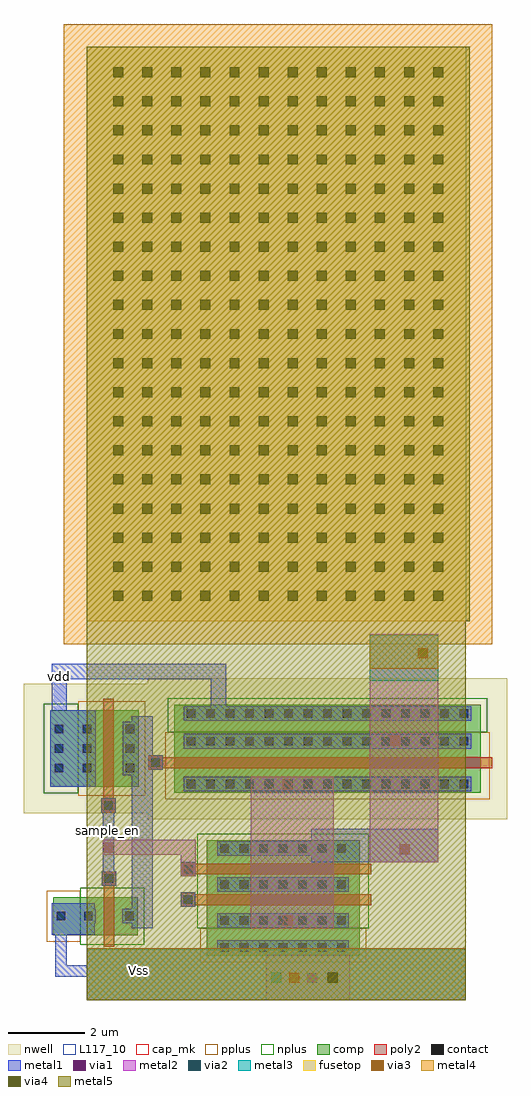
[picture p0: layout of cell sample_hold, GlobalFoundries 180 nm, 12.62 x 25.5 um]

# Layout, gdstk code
from math import pi, radians
import gdstk
lib = gdstk.Library(unit=1e-6, precision=5e-09)
def R(c, l, rs):  # rectangles x0, y0, x1, y1
    for r in rs: c.add(gdstk.rectangle(r[:2], r[2:], *l))
def A(c, l, x, y, w, h, nx, ny, dx, dy):  # array of equal rectangles
    R(c, l, [(x+i*dx, y+j*dy, x+i*dx+w, y+j*dy+h) for i in range(nx) for j in range(ny)])
nwell = (21, 0)
comp = (22, 0)
poly2 = (30, 0)
pplus = (31, 0)
nplus = (32, 0)
contact = (33, 0)
metal1 = (34, 0)
via1 = (35, 0)
metal2 = (36, 0)
via2 = (38, 0)
via3 = (40, 0)
via4 = (41, 0)
metal3 = (42, 0)
metal4 = (46, 0)
fusetop = (75, 0)
metal5 = (81, 0)
cap_mk = (117, 5)
L117_10 = (117, 10)

nfet_1 = lib.new_cell('nfet$1')
R(nfet_1, comp, [(-0.42,0,0,4), (0,0,1.46,4), (1.46,0,1.88,4), (1.88,0,2.59,4)])
R(nfet_1, poly2, [(0.15,-0.66,0.51,-0.3), (0.95,-0.66,1.31,-0.3), (0.19,-0.3,0.47,4.3), (0.99,-0.3,1.27,4.3)])
R(nfet_1, pplus, [(1.88,-0.17,2.76,4.17)])
R(nfet_1, nplus, [(-0.59,-0.24,1.88,4.24)])
A(nfet_1, contact, -0.32, 0.36, 0.22, 0.22, 3, 7, 0.94, 0.51)
A(nfet_1, contact, 2.27, 0.36, 0.22, 0.22, 1, 7, 0, 0.51)
R(nfet_1, contact, [(0.22,-0.59,0.44,-0.37), (1.02,-0.59,1.24,-0.37)])
A(nfet_1, metal1, -0.4, 0.28, 0.38, 3.44, 3, 1, 0.94, 0)
R(nfet_1, metal1, [(0.14,-0.67,0.52,-0.29), (0.94,-0.67,1.32,-0.29), (2.19,0.28,2.57,3.72)])

pfet = lib.new_cell('pfet')
R(pfet, nwell, [(-1.15,-0.69,2.54,2.69)])
R(pfet, comp, [(-0.46,0,0,2), (0,0,0.66,2), (0.66,0,1.12,2), (1.12,0,1.85,2)])
R(pfet, poly2, [(0.14,-0.68,0.52,-0.3), (0.19,-0.3,0.47,2.3)])
R(pfet, pplus, [(-0.63,-0.24,1.12,2.24)])
R(pfet, nplus, [(1.12,-0.17,2.02,2.17)])
A(pfet, contact, -0.34, 0.38, 0.22, 0.22, 1, 3, 0, 0.51)
A(pfet, contact, 0.78, 0.38, 0.22, 0.22, 1, 3, 0, 0.51)
A(pfet, contact, 1.51, 0.38, 0.22, 0.22, 1, 3, 0, 0.51)
R(pfet, contact, [(0.22,-0.6,0.44,-0.38)])
R(pfet, metal1, [(0.14,-0.68,0.52,-0.3), (-0.42,0.3,-0.04,1.7), (0.7,0.3,1.08,1.7), (1.43,0.3,1.81,1.7)])

nfet = lib.new_cell('nfet')
R(nfet, comp, [(-0.42,0,0,1), (0,0,0.66,1), (0.66,0,1.08,1), (1.08,0,1.79,1)])
R(nfet, poly2, [(0.19,-0.3,0.47,1.3), (0.15,1.3,0.51,1.66)])
R(nfet, pplus, [(1.08,-0.17,1.96,1.17)])
R(nfet, nplus, [(-0.59,-0.24,1.08,1.24)])
R(nfet, contact, [(-0.32,0.39,-0.1,0.61), (0.76,0.39,0.98,0.61), (1.47,0.39,1.69,0.61), (0.22,1.37,0.44,1.59)])
R(nfet, metal1, [(-0.4,0.31,-0.02,0.69), (0.68,0.31,1.06,0.69), (1.39,0.31,1.77,0.69), (0.14,1.29,0.52,1.67)])

inv_sh = lib.new_cell('inv_sh')
R(inv_sh, metal1, [(0.29,-1.01,1.42,-0.18), (-1.22,-0.84,-0.68,4.7), (0.26,2.86,1.45,4.86)])
inv_sh.add(gdstk.FlexPath([(-0.07,2.37),(-0.07,0.43),(-0.07,0.43)], 0.3, ends="flush", simple_path=True, layer=34, datatype=0))  # metal1
inv_sh.add(gdstk.Reference(pfet, (-0.4,2.86)))
inv_sh.add(gdstk.Reference(nfet, (-0.41,-1.02)))
inv_sh.add(gdstk.Label('vdd', (0.855,3.64), layer=34, texttype=10))
inv_sh.add(gdstk.Label('vss', (0.86,-0.56), layer=34, texttype=10))
inv_sh.add(gdstk.Label('vo', (-0.99,1.28), layer=34, texttype=10))
inv_sh.add(gdstk.Label('vi', (-0.07,1.39), layer=34, texttype=10))

pfet_1 = lib.new_cell('pfet$1')

pfet_3 = lib.new_cell('pfet$3')
R(pfet_3, nwell, [(-1.15,-0.69,2.54,8.69)])
R(pfet_3, comp, [(-0.46,0,0,8), (0,0,0.66,8), (0.66,0,1.12,8), (1.12,0,1.85,8)])
R(pfet_3, poly2, [(0.19,-0.3,0.47,8.3), (0.14,8.3,0.52,8.68)])
R(pfet_3, pplus, [(-0.63,-0.24,1.12,8.24)])
R(pfet_3, nplus, [(1.12,-0.17,2.02,8.17)])
A(pfet_3, contact, -0.34, 0.32, 0.22, 0.22, 1, 15, 0, 0.51)
A(pfet_3, contact, 0.78, 0.32, 0.22, 0.22, 1, 15, 0, 0.51)
A(pfet_3, contact, 1.51, 0.32, 0.22, 0.22, 1, 15, 0, 0.51)
R(pfet_3, contact, [(0.22,8.38,0.44,8.6)])
R(pfet_3, metal1, [(-0.42,0.24,-0.04,7.76), (0.7,0.24,1.08,7.76), (1.43,0.24,1.81,7.76), (0.14,8.3,0.52,8.68)])

cap_mim = lib.new_cell('cap_mim')
A(cap_mim, via4, 0.53, 0.69, 0.26, 0.26, 19, 12, 0.76, 0.76)
R(cap_mim, metal4, [(-0.6,-0.6,15.6,10.6)])
R(cap_mim, fusetop, [(0,0,15,10)])
R(cap_mim, metal5, [(0,0,15,10)])
R(cap_mim, cap_mk, [(-0.6,-0.6,15.6,10.6)])
R(cap_mim, L117_10, [(0,0,15,0.1)])

sample_hold = lib.new_cell('sample_hold')
R(sample_hold, metal1, [(-26.25,6.77,-16.35,8.09), (-20.39,10.37,-17.07,11.24)])
R(sample_hold, via1, [(-20.49,7.225,-20.23,7.485), (-21.13,8.71,-20.87,8.97), (-23.73,10.06,-23.47,10.32), (-18.07,10.58,-17.81,10.84), (-25.81,10.62,-25.55,10.88), (-21.135,12.275,-20.875,12.535), (-18.33,13.41,-18.07,13.67)])
R(sample_hold, metal2, [(-21.57,6.77,-19.38,7.95), (-21.97,8.64,-19.8,12.6), (-18.86,10.37,-17.07,16.33)])
R(sample_hold, via2, [(-21.43,7.225,-21.17,7.485), (-17.6,15.7,-17.34,15.96)])
R(sample_hold, via3, [(-20.96,7.225,-20.7,7.485), (-17.6,15.7,-17.34,15.96)])
R(sample_hold, via4, [(-19.95,7.225,-19.69,7.485)])
R(sample_hold, metal3, [(-26.25,6.77,-16.35,8.1), (-21.57,6.77,-19.37,8.1), (-18.86,15.11,-17.07,16.3)])
R(sample_hold, metal4, [(-26.25,6.77,-16.35,8.12), (-21.57,6.77,-19.37,7.94), (-18.86,15.43,-17.07,16.67)])
R(sample_hold, metal5, [(-26.25,6.77,-16.35,19.69)])
sample_hold.add(gdstk.FlexPath([(-26.97,14.04),(-26.97,15.35),(-22.81,15.35),(-22.81,14.26),(-22.81,14.26)], 0.4, ends="flush", simple_path=True, layer=34, datatype=0))  # metal1
sample_hold.add(gdstk.FlexPath([(-26.92,8.96),(-26.92,7.53),(-21.77,7.53),(-21.77,8.33)], 0.3, ends="flush", simple_path=True, layer=34, datatype=0))  # metal1
sample_hold.add(gdstk.FlexPath([(-25.83,10.76),(-23.6,10.76),(-23.6,10),(-23.6,10)], 0.4, ends="flush", simple_path=True, layer=36, datatype=0))  # metal2
sample_hold.add(gdstk.Reference(nfet_1, (-23.12,10.52), rotation=3*pi/2))
sample_hold.add(gdstk.Reference(inv_sh, (-25.75,9.48), rotation=pi, x_reflection=True))
sample_hold.add(gdstk.Reference(pfet_1, (-19.55,11.94), rotation=pi/2))
sample_hold.add(gdstk.Reference(pfet_3, (-15.96,12.64), rotation=pi/2))
sample_hold.add(gdstk.Reference(cap_mim, (-16.25,16.67), rotation=pi/2))
sample_hold.add(gdstk.Label('Vss', (-24.89,7.53), layer=34, texttype=10))
sample_hold.add(gdstk.Label('vdd', (-26.97,15.23), layer=34, texttype=10))
sample_hold.add(gdstk.Label('sample_en', (-25.72,11.2), layer=34, texttype=10))
sample_hold.add(gdstk.Label('clkb', (-24.87,11.06), layer=34, texttype=10))

lib.write_gds('sample_hold.gds')
